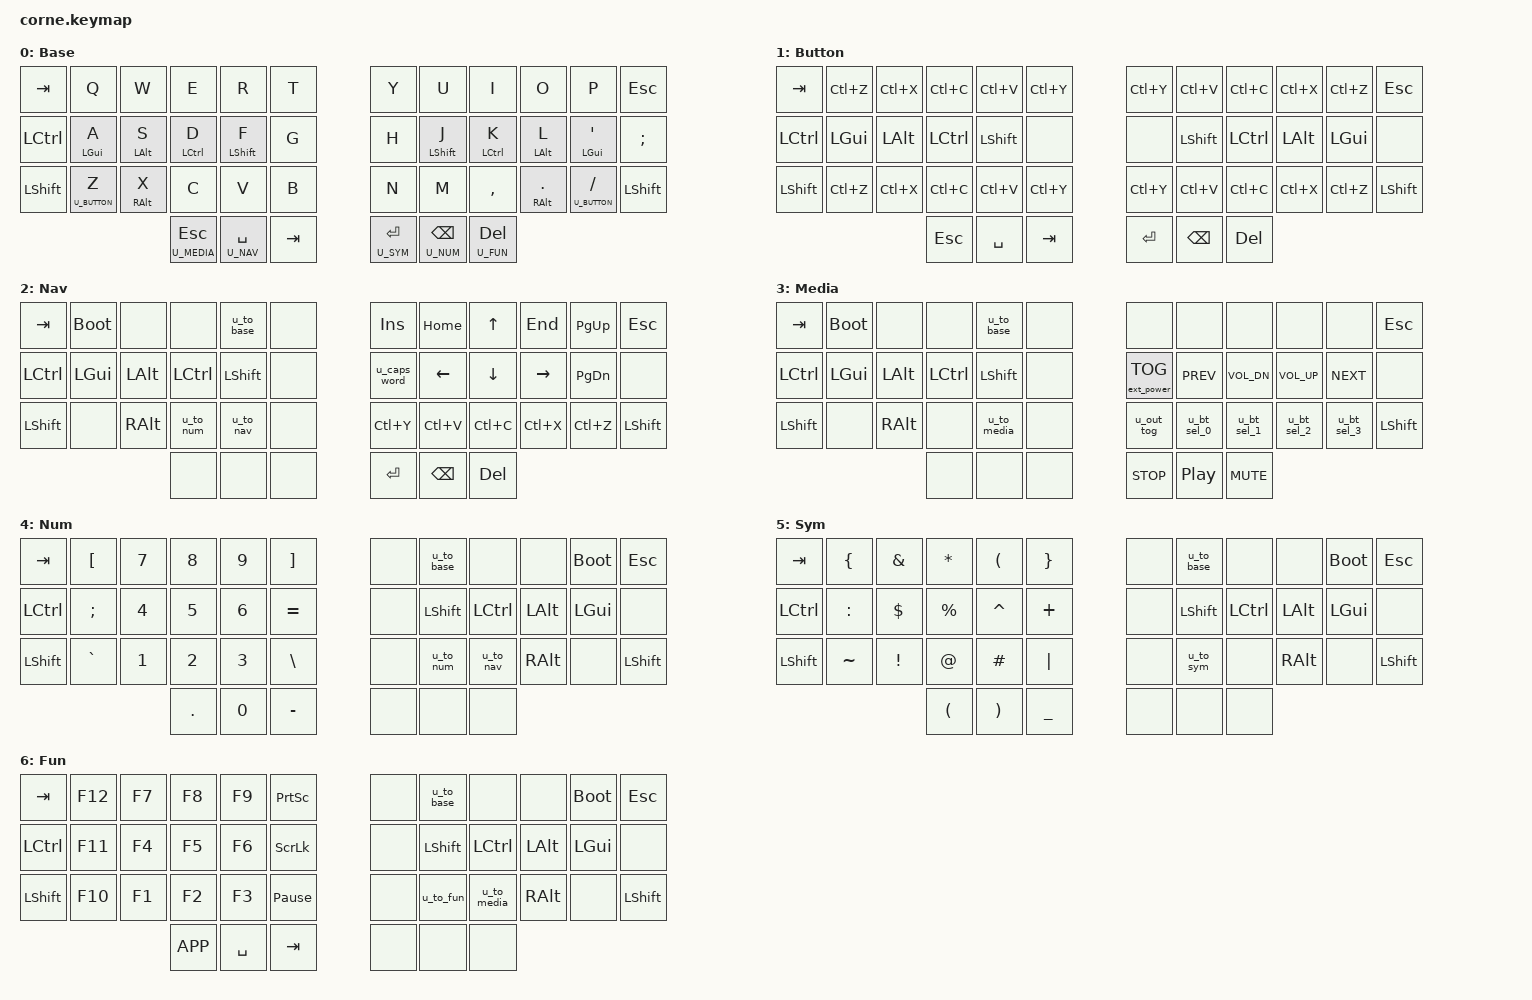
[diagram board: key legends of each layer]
/*
 * Copyright (c) 2020 The ZMK Contributors
 *
 * SPDX-License-Identifier: MIT
 */

#include <behaviors.dtsi>
#include <dt-bindings/zmk/bt.h>
#include <dt-bindings/zmk/outputs.h>
#include <dt-bindings/zmk/ext_power.h>
#include <dt-bindings/zmk/keys.h>

/* U_MT\(([a-zA-Z_]+), *([a-zA-Z_]+)\)     &u_mt $1 $2 */

/* Layers */
#define U_BASE   0
#define U_BUTTON 1
#define U_NAV    2
#define U_MEDIA  3
#define U_NUM    4
#define U_SYM    5
#define U_FUN    6

/ {
    combos {
        compatible = "zmk,combos";

        ctrl_alt_del {
            bindings = <&kp LC(LA(DELETE))>;
            key-positions = <11 12 41>;
        };

        destop_left {
            bindings = <&kp LG(LC(LEFT))>;
            key-positions = <16 15 38>;
        };

        desktop_right {
            bindings = <&kp LG(LC(RIGHT))>;
            key-positions = <15 16 39>;
        };

        screen_capture {
            bindings = <&kp LG(LS(S))>;
            key-positions = <12 24>;
        };
    };

    behaviors {
        u_mt: u_mt {
            compatible = "zmk,behavior-hold-tap";
            label = "u_mt";
            #binding-cells = <2>;
            tapping_term_ms = <220>;
            quick-tap-ms = <250>;
            flavor = "tap-preferred";
            bindings = <&kp>, <&kp>;
        };

        u_mts: u_mts {
            compatible = "zmk,behavior-hold-tap";
            label = "u_mts";
            #binding-cells = <2>;
            tapping_term_ms = <270>;
            quick-tap-ms = <300>;
            flavor = "tap-preferred";
            bindings = <&kp>, <&kp>;
        };

        u_lt: u_lt {
            compatible = "zmk,behavior-hold-tap";
            label = "u_lt";
            #binding-cells = <2>;
            tapping_term_ms = <220>;
            quick-tap-ms = <250>;
            flavor = "tap-preferred";
            bindings = <&mo>, <&kp>;
        };

        u_lts: u_lts {
            compatible = "zmk,behavior-hold-tap";
            label = "u_lts";
            #binding-cells = <2>;
            tapping_term_ms = <270>;
            quick-tap-ms = <300>;
            flavor = "tap-preferred";
            bindings = <&mo>, <&kp>;
        };

         u_to_base:  u_to_base {
            compatible = "zmk,behavior-tap-dance";
            label = "u_to_base";
            #binding-cells = <0>;
            tapping-term-ms = <220>;
            bindings = <&none>, <&to U_BASE>;
        };

         u_to_nav:  u_to_nav {
            compatible = "zmk,behavior-tap-dance";
            label = "u_to_nav";
            #binding-cells = <0>;
            tapping-term-ms = <220>;
            bindings = <&none>, <&to U_NAV>;
        };

         u_to_num:  u_to_num {
            compatible = "zmk,behavior-tap-dance";
            label = "u_to_num";
            #binding-cells = <0>;
            tapping-term-ms = <220>;
            bindings = <&none>, <&to U_NUM>;
        };

         u_to_sym:  u_to_sym {
            compatible = "zmk,behavior-tap-dance";
            label = "u_to_sym";
            #binding-cells = <0>;
            tapping-term-ms = <220>;
            bindings = <&none>, <&to U_SYM>;
        };

         u_to_fun:  u_to_fun {
            compatible = "zmk,behavior-tap-dance";
            label = "u_to_fun";
            #binding-cells = <0>;
            tapping-term-ms = <220>;
            bindings = <&none>, <&to U_FUN>;
        };

         u_to_media:  u_to_media {
            compatible = "zmk,behavior-tap-dance";
            label = "u_to_media";
            #binding-cells = <0>;
            tapping-term-ms = <220>;
            bindings = <&none>, <&to U_MEDIA>;
        };

        u_caps_word: u_caps_word {
            compatible = "zmk,behavior-mod-morph";
            label = "u_caps_word";
            #binding-cells = <0>;
            bindings = <&caps_word>, <&kp CAPS>;
            mods = <(MOD_LSFT|MOD_RSFT)>;
        };

        u_out_tog: u_out_tog {
            compatible = "zmk,behavior-mod-morph";
            label = "u_out_tog";
            #binding-cells = <0>;
            bindings = <&out OUT_TOG>, <&out OUT_USB>;
            mods = <(MOD_LSFT|MOD_RSFT)>;
        };

        u_bt_sel_0: u_bt_sel_0 {
            compatible = "zmk,behavior-mod-morph";
            label = "u_bt_sel_0";
            #binding-cells = <0>;
            bindings = <&bt BT_SEL 0>, <&bt BT_SEL 0 &bt BT_CLR>;
            mods = <(MOD_LSFT|MOD_RSFT)>;
        };

        u_bt_sel_1: u_bt_sel_1 {
            compatible = "zmk,behavior-mod-morph";
            label = "u_bt_sel_1";
            #binding-cells = <0>;
            bindings = <&bt BT_SEL 1>, <&bt BT_SEL 1 &bt BT_CLR>;
            mods = <(MOD_LSFT|MOD_RSFT)>;
        };

        u_bt_sel_2: u_bt_sel_2 {
            compatible = "zmk,behavior-mod-morph";
            label = "u_bt_sel_2";
            #binding-cells = <0>;
            bindings = <&bt BT_SEL 2>, <&bt BT_SEL 2 &bt BT_CLR>;
            mods = <(MOD_LSFT|MOD_RSFT)>;
        };

        u_bt_sel_3: u_bt_sel_3 {
            compatible = "zmk,behavior-mod-morph";
            label = "u_bt_sel_3";
            #binding-cells = <0>;
            bindings = <&bt BT_SEL 3>, <&bt BT_SEL 3 &bt BT_CLR>;
            mods = <(MOD_LSFT|MOD_RSFT)>;
        };

        u_bt_sel_4: u_bt_sel_4 {
            compatible = "zmk,behavior-mod-morph";
            label = "u_bt_sel_4";
            #binding-cells = <0>;
            bindings = <&bt BT_SEL 4>, <&bt BT_SEL 4 &bt BT_CLR>;
            mods = <(MOD_LSFT|MOD_RSFT)>;
        };
    };

    // -----------------------------------------------------------------------------------------
    // |  TAB |   1  |   2  |   3  |   4  |   5  |   |   6  |   7   |   8  |   9  |  10  | BKSP |
    // | CTRL |  13  |  14  |  15  |  16  |  17  |   |  18  |  19   |  20  |  21  |  22  |      |
    // | SHFT |  25  |  26  |  27  |  28  |  29  |   |  30  |  31   |  32  |  33  |  34  | ESC  |
    //                         | 36 | 37 | 38 |         | 39 | 40  | 41 |
    keymap {
        compatible = "zmk,keymap";

        base_layer {

            label = "Base";
            bindings = <
&kp TAB          &kp Q             &kp W             &kp E             &kp R             &kp T             &kp Y             &kp U             &kp I             &kp O             &kp P             &kp ESC
&kp LCTRL        &u_mts LGUI A     &u_mts LALT S     &u_mt LCTRL D     &u_mt LSHFT F     &kp G             &kp H             &u_mt LSHFT J     &u_mt LCTRL K     &u_mt LALT L      &u_mt LGUI SQT    &kp SEMI
&kp LSHFT        &u_lt U_BUTTON Z  &u_mt RALT X      &kp C             &kp V             &kp B             &kp N             &kp M             &kp COMMA         &u_mt RALT DOT    &u_lt U_BUTTON SLASH &kp LSHFT
                                   &u_lt U_MEDIA ESC &u_lt U_NAV SPACE &kp TAB           &u_lt U_SYM RET   &u_lt U_NUM BSPC  &u_lt U_FUN DEL
            >;
        };

        button_layer {
            label = "Button";
            bindings = <
&kp TAB          &kp LC(Z)         &kp LC(X)         &kp LC(C)         &kp LC(V)         &kp LC(Y)         &kp LC(Y)         &kp LC(V)         &kp LC(C)         &kp LC(X)         &kp LC(Z)         &kp ESC
&kp LCTRL        &kp LGUI          &kp LALT          &kp LCTRL         &kp LSHFT         &none             &none             &kp LSHFT         &kp LCTRL         &kp LALT          &kp LGUI          &none
&kp LSHFT        &kp LC(Z)         &kp LC(X)         &kp LC(C)         &kp LC(V)         &kp LC(Y)         &kp LC(Y)         &kp LC(V)         &kp LC(C)         &kp LC(X)         &kp LC(Z)         &kp LSHFT
                                   &kp ESC           &kp SPACE         &kp TAB           &kp RET           &kp BSPC          &kp DEL
            >;
        };

        nav_layer {
            label = "Nav";
            bindings = <
&kp TAB          &bootloader       &none             &none             &u_to_base         &none              &kp INS           &kp HOME          &kp UP            &kp END           &kp PG_UP         &kp ESC
&kp LCTRL        &kp LGUI          &kp LALT          &kp LCTRL         &kp LSHFT          &none              &u_caps_word      &kp LEFT          &kp DOWN          &kp RIGHT         &kp PG_DN         &none
&kp LSHFT        &none             &kp RALT          &u_to_num         &u_to_nav          &none              &kp LC(Y)         &kp LC(V)         &kp LC(C)         &kp LC(X)         &kp LC(Z)         &kp LSHFT
                                   &none             &none             &none              &kp RET            &kp BSPC          &kp DEL                           
            >;
        };

        media_layer {
            label = "Media";
            bindings = <
&kp TAB          &bootloader       &none             &none             &u_to_base        &none              &none              &none             &none             &none             &none             &kp ESC
&kp LCTRL        &kp LGUI          &kp LALT          &kp LCTRL         &kp LSHFT         &none              &ext_power EP_TOG  &kp C_PREV        &kp C_VOL_DN      &kp C_VOL_UP      &kp C_NEXT        &none
&kp LSHFT        &none             &kp RALT          &none             &u_to_media       &none              &u_out_tog         &u_bt_sel_0       &u_bt_sel_1       &u_bt_sel_2       &u_bt_sel_3       &kp LSHFT
                                   &none             &none             &none             &kp C_STOP         &kp C_PP           &kp C_MUTE
            >;
        };

        num_layer {
            label = "Num";
            bindings = <
&kp TAB          &kp LBKT         &kp N7            &kp N8            &kp N9            &kp RBKT           &none              &u_to_base        &none             &none             &bootloader        &kp ESC
&kp LCTRL        &kp SEMI         &kp N4            &kp N5            &kp N6            &kp EQUAL          &none              &kp LSHFT         &kp LCTRL         &kp LALT          &kp LGUI           &none
&kp LSHFT        &kp GRAVE        &kp N1            &kp N2            &kp N3            &kp BSLH           &none              &u_to_num         &u_to_nav         &kp RALT          &none              &kp LSHFT
                                  &kp DOT           &kp N0            &kp MINUS         &none              &none              &none
            >;
        };

        sym_layer {
            label = "Sym";
            bindings = <
&kp TAB          &kp LBRC          &kp AMPS          &kp ASTRK         &kp LPAR          &kp RBRC          &none              &u_to_base        &none             &none             &bootloader        &kp ESC
&kp LCTRL        &kp COLON         &kp DLLR          &kp PRCNT         &kp CARET         &kp PLUS          &none              &kp LSHFT         &kp LCTRL         &kp LALT          &kp LGUI           &none
&kp LSHFT        &kp TILDE         &kp EXCL          &kp AT            &kp HASH          &kp PIPE          &none              &u_to_sym         &none             &kp RALT          &none              &kp LSHFT
                                   &kp LPAR          &kp RPAR          &kp UNDER         &none             &none              &none
            >;
        };

        fun_layer {
            label = "Fun";
            bindings = <
&kp TAB          &kp F12           &kp F7            &kp F8            &kp F9            &kp PSCRN         &none              &u_to_base        &none             &none             &bootloader       &kp ESC
&kp LCTRL        &kp F11           &kp F4            &kp F5            &kp F6            &kp SLCK          &none              &kp LSHFT         &kp LCTRL         &kp LALT          &kp LGUI          &none
&kp LSHFT        &kp F10           &kp F1            &kp F2            &kp F3            &kp PAUSE_BREAK   &none              &u_to_fun         &u_to_media       &kp RALT          &none             &kp LSHFT
                                   &kp K_APP         &kp SPACE         &kp TAB           &none             &none              &none
            >;
        };
    };
};
